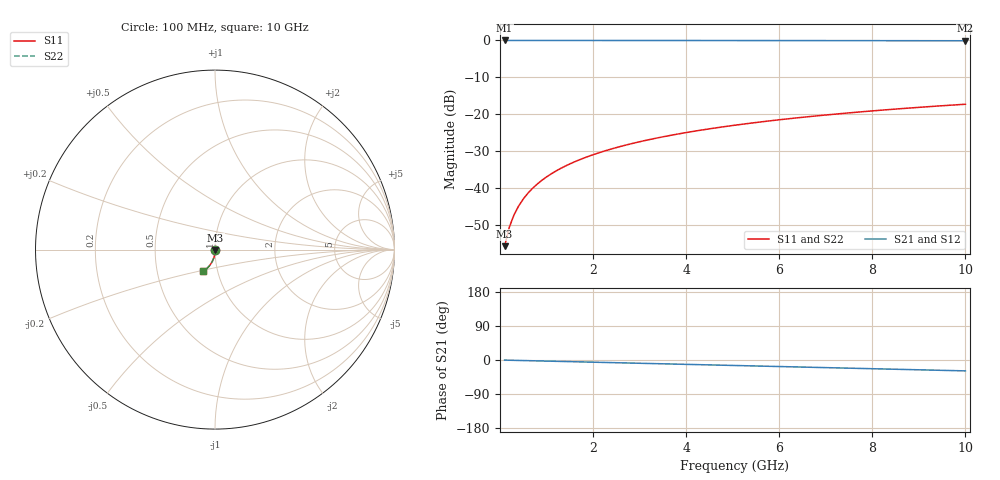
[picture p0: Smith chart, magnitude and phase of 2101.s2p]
# Hz S RI R 50.00
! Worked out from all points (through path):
!   100 points, 100 MHz to 10 GHz, reference 50 ohm
!   highest |S21| = -0.01 dB at 100 MHz (marker M1); lowest = -0.1 dB at 10 GHz (marker M2)
!   group delay of S21, straight-line fit = 7.98 ps
!   lowest |S11| = -55.6 dB at 100 MHz (marker M3), VSWR 1.00, Z = 50.1 - j0.143 ohm
!   |S11| at or under -10 dB: start of sweep to end of sweep
!   |S22| runs from -55.6 to -17.3 dB; largest |S21 - S12| = 0
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1e8  0.000835 -0.00143  0.9991 -0.005  0.9991 -0.005  0.000835 -0.00143
2e8  0.000817 -0.00286  0.9991 -0.01  0.9991 -0.01  0.000817 -0.00286
3e8  0.000782 -0.00429  0.999 -0.015  0.999 -0.015  0.000782 -0.00429
4e8  0.000732 -0.00572  0.9989 -0.02  0.9989 -0.02  0.000732 -0.00572
5e8  0.000668 -0.00715  0.9988 -0.025  0.9988 -0.025  0.000668 -0.00715
6e8  0.000589 -0.00857  0.9986 -0.03  0.9986 -0.03  0.000589 -0.00857
7e8  0.000495 -0.01  0.9984 -0.035  0.9984 -0.035  0.000495 -0.01
8e8  0.000387 -0.0114  0.9982 -0.04  0.9982 -0.04  0.000387 -0.0114
9e8  0.000265 -0.0129  0.998 -0.045  0.998 -0.045  0.000265 -0.0129
1.1e9  -2.3e-05 -0.0157  0.9975 -0.055  0.9975 -0.055  -2.3e-05 -0.0157
1.4e9  -0.000562 -0.02  0.9964 -0.07  0.9964 -0.07  -0.000562 -0.02
1.8e9  -0.00148 -0.0256  0.9947 -0.0899  0.9947 -0.0899  -0.00148 -0.0256
2.1e9  -0.00232 -0.0298  0.9931 -0.1048  0.9931 -0.1048  -0.00232 -0.0298
2.5e9  -0.00363 -0.0354  0.9906 -0.1247  0.9906 -0.1247  -0.00363 -0.0354
2.9e9  -0.00517 -0.041  0.9876 -0.1445  0.9876 -0.1445  -0.00517 -0.041
3.4e9  -0.00741 -0.0478  0.9834 -0.1692  0.9834 -0.1692  -0.00741 -0.0478
4.2e9  -0.0117 -0.0585  0.9752 -0.2084  0.9752 -0.2084  -0.0117 -0.0585
5.1e9  -0.0175 -0.07  0.9639 -0.252  0.9639 -0.252  -0.0175 -0.07
5.9e9  -0.0235 -0.0798  0.9521 -0.2902  0.9521 -0.2902  -0.0235 -0.0798
6.7e9  -0.0303 -0.0891  0.9388 -0.3279  0.9388 -0.3279  -0.0303 -0.0891
8.4e9  -0.0471 -0.1068  0.9052 -0.4057  0.9052 -0.4057  -0.0471 -0.1068
1e10  -0.0654 -0.1207  0.8674 -0.4756  0.8674 -0.4756  -0.0654 -0.1207
